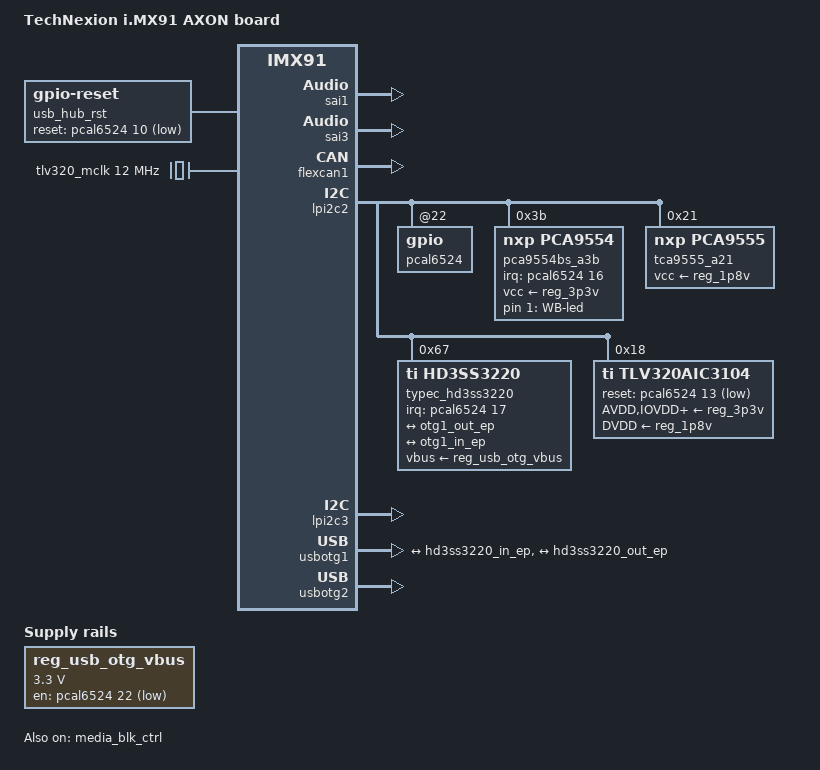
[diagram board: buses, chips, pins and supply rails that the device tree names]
// SPDX-License-Identifier: (GPL-2.0+ OR MIT)
/*
 * Copyright 2024 NXP
 */

/dts-v1/;

#include <dt-bindings/usb/pd.h>
#include <dt-bindings/pwm/pwm.h>
#include "imx91-axon.dtsi"

&ele_fw2 {
	memory-region = <&ele_reserved>;
};

/ {
	model = "TechNexion i.MX91 AXON board";
	compatible = "fsl,imx91-axon", "fsl,imx91";

	chosen {
		stdout-path = &lpuart1;
	};

	reg_usb_otg_vbus: usb_otg_vbus {
		compatible = "regulator-fixed";
		regulator-name = "usb_otg_vbus";
		regulator-min-microvolt = <3300000>;
		regulator-max-microvolt = <3300000>;
		gpio = <&pcal6524 22 GPIO_ACTIVE_LOW>;
		enable-active-low;
	};

	usb_hub_rst: usb_hub_rst {
		compatible = "gpio-reset";
		reset-gpios = <&pcal6524 10 GPIO_ACTIVE_LOW>;
		reset-delay-us = <10>;
		#reset-cells = <0>;
	};

	disp_backlight: disp_backlight {
		compatible = "pwm-backlight";
		pwms = <&tpm2 0 40000 PWM_POLARITY_INVERTED>;	/* 25KHz PWM */
		/* TPM driver seems revert the value */
		/* brightness-levels = <0 36 72 108 144 180 216 255>; */
		brightness-levels = <255 216 180 144 108 72 36 0>;
		default-brightness-level = <6>;
		power-supply = <&reg_5v>;
		status = "disabled";
	};

	tlv320_mclk: clk-0 {
		#clock-cells = <0>;
		compatible = "fixed-clock";
		clock-frequency = <12000000>;
	};

	sound {
		compatible = "simple-audio-card";
		simple-audio-card,name = "tlv320aic3x-audio";
		simple-audio-card,widgets =
			"Headphone", "Headphone Jack",
			"Microphone", "Mic Jack";
		simple-audio-card,routing =
			"Headphone Jack", "HPLOUT",
			"Headphone Jack", "HPROUT",
			"MIC2R", "Mic Jack",
			"Mic Jack", "Mic Bias";
		simple-audio-card,format = "dsp_b";
		simple-audio-card,bitclock-master = <&sound_master>;
		simple-audio-card,frame-master = <&sound_master>;
		simple-audio-card,bitclock-inversion;
		status = "okay";

		simple-audio-card,cpu {
			sound-dai = <&sai1>;
		};

		sound_master: simple-audio-card,codec {
			sound-dai = <&tlv320aic3104>;
			clocks = <&tlv320_mclk>;
		};
	};

	leds {
		compatible = "gpio-leds";

		led_1 {
			label = "WB-led";
			gpios = <&pca9554bs_a3b 1 GPIO_ACTIVE_HIGH>;
			default-state = "on";
		};
	};
};

&sai1 {
	status = "okay";
};

&sai3 {
	status = "okay";
};

&flexcan1 {
	status = "okay";
};

&lpi2c2 {
	status = "okay";

	pcal6524: gpio@22 {

		gpio-line-names = "VH_P11", "WL_REG_ON", "BT_REG_ON", "WL_WAKE_HOST",
				"BT_WAKE_HOST", "LCD_BKLEN", "LVDS0_BL_EN", "ENET1_INTn",

				"TOUCH_nRST", "CSI1_INT", "USB_HUB_RST", "PMIC_INTn",
				"CSI_nRST", "AUD_RST", "ENET2_RSTn", "ENET1_RSTn",

				"pca9554_a3b_IRQn", "PD_INT_N", "VH_P32", "tca9555_a21_IRQn",
				"VH_P15", "VH_P22", "USB_OTG_PWR_EN", "VH_P36";
	};

	pca9554bs_a3b: pca9554bs@3b {
		compatible = "nxp,pca9554";
		reg = <0x3b>;
		vcc-supply = <&reg_3p3v>;
		gpio-controller;
		#gpio-cells = <2>;
		interrupt-controller;
		#interrupt-cells = <2>;
		interrupt-parent = <&pcal6524>;
		interrupts = <16 IRQ_TYPE_EDGE_FALLING>;
		status = "okay";
		gpio-line-names = "M2_DISABLE_N", "LED_EN", "USB_OTG_OC", "EXT_GPIO8_M2_WAN_WAKE",
					"EXT_GPIO9_M2_RST_N", "CSI1_PDB", "AUD_A_SW", "PD_FAULT";
	};

	tca9555_a21: tca9555@21 {
		compatible = "nxp,pca9555";
		reg = <0x21>;
		vcc-supply = <&reg_1p8v>;
		gpio-controller;
		#gpio-cells = <2>;
		// interrupt-controller;
		// #interrupt-cells = <2>;
		// interrupt-parent = <&pcal6524>;
		// interrupts = <19 IRQ_TYPE_EDGE_FALLING>;
		gpio-line-names = "EXPOSURE_TRIG_IN1", "FLASH_OUT1","INFO_TRIG_IN1", "CAM_SHUTTER1",
			"XVS1", "PWR1_TIME0","PWR1_TIME1", "PWR1_TIME2",
			"", "","", "","", "","", "";
	};

	typec_hd3ss3220: hd3ss3220@67 {
		compatible = "ti,hd3ss3220";
		interrupts-extended = <&pcal6524 17 IRQ_TYPE_EDGE_FALLING>;
		vbus-supply = <&reg_usb_otg_vbus>;
		reg = <0x67>;

		ports {
			#address-cells = <1>;
			#size-cells = <0>;

			port@0 {
				reg = <0>;
				hd3ss3220_in_ep: endpoint {
					remote-endpoint = <&otg1_out_ep>;
				};
			};

			port@1 {
				reg = <1>;
				hd3ss3220_out_ep: endpoint {
					remote-endpoint = <&otg1_in_ep>;
				};
			};
		};
	};

	tlv320aic3104: audio-codec@18 {
		#sound-dai-cells = <0>;
		compatible = "ti,tlv320aic3104";
		reg = <0x18>;
		status = "okay";
		reset-gpios = <&pcal6524 13 GPIO_ACTIVE_LOW>;
		ai3x-ocmv = <0>;
		ai3x-micbias-vg = <1>;		/* 2.0V */

		/* Regulators */
		AVDD-supply = <&reg_3p3v>;
		IOVDD-supply = <&reg_3p3v>;
		DRVDD-supply = <&reg_3p3v>;
		DVDD-supply = <&reg_1p8v>;
	};
};

&lpi2c3 {
	status = "okay";
};

&media_blk_ctrl {
	status = "okay";
};

&usbotg1 {
	status = "okay";

	ports {
		#address-cells = <1>;
		#size-cells = <0>;

		port@0 {
			reg = <0>;
			otg1_out_ep: endpoint {
				remote-endpoint = <&hd3ss3220_in_ep>;
			};
		};

		port@1 {
			reg = <1>;
			otg1_in_ep: endpoint {
				remote-endpoint = <&hd3ss3220_out_ep>;
			};
		};
	};
};

&usbotg2 {
	status = "okay";
};

&gpio1 {
	status = "okay";

	gpio-line-names = "", "", "", "",
			"", "", "", "",

			"", "", "", "",
			"", "", "", "",

			"", "", "", "",
			"", "", "", "";
};

&gpio2 {
	status = "okay";

	gpio-line-names = "", "", "", "",
			"", "", "", "",

			"", "", "", "",
			"", "", "", "",

			"", "", "", "",
			"", "", "", "";
};

&gpio3 {
	status = "okay";

	gpio-line-names = "SD_CD", "", "", "",
			"", "", "", "",

			"", "", "", "",
			"", "", "", "",

			"", "", "", "",
			"", "", "", "",

			"", "", "TOUCH_INTn", "",
			"", "", "", "";
};

&gpio4 {
	status = "okay";

	gpio-line-names = "", "", "", "",
			"", "", "", "",

			"", "", "", "",
			"", "", "", "",

			"", "", "", "",
			"", "", "", "",

			"", "", "", "",
			"pcal6524_IRQn", "", "", "";
};
